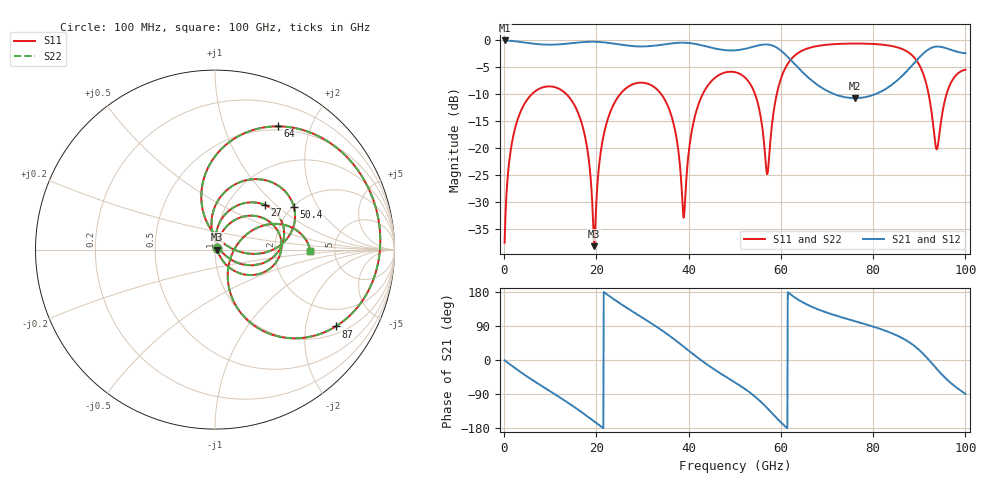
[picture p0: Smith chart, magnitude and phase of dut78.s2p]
! Touchstone file exported from HFSS 2026.1.0
!  File:  C:/ffzhzh/LocalFiles/Ansys_Project_Files/temp_train_TSV_RDL_78_1783451040_28540.aedt
!  Generated:  03:15:55 AM Jul  8, 2026
!  Design:  TSV_RDL
!  Project:  temp_train_TSV_RDL_78_1783451040_28540
! Variables:
!  h_bsmrdl = 3.49um
!  h_ox = 20um
!  h_rdl = 5um
!  h_sub = 97.33um
!  h_tmrdl = 4.26um
!  h_tsv = 97.33um
!  h_via = 3um
!  l_bsmrdl = 154.64um
!  l_sub = 2408.24um
!  l_tmrdl = 358.93um
!  m_sub = 200um
!  pitch = 41.8um
!  r_tsv = 11.44um
!  s_tmrdl = 10um
!  w_bsmrdl = 20.35um
!  w_sub = 500um
!  w_tmrdl = 15.85um
!  x_tsv_center1 = 366.855um
!  x_tsv_center2 = 541.845um
!  x_tsv_center3 = 916.625um
!  x_tsv_center4 = 1091.615um
!  x_tsv_center5 = 1466.395um
!  x_tsv_center6 = 1641.385um
# GHz S MA R 50.000000
! Terminal data exported
! Port[1] = TM_RDL1_1_T1
! Port[2] = TM_RDL5_1_T1
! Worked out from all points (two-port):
!   1000 points, 100 MHz to 100 GHz, reference 50 ohm
!   highest |S21| = -0.10 dB at 100 MHz (marker M1); lowest = -10.8 dB at 76.1 GHz (marker M2)
!   |S21| within 3 dB of the highest: start of sweep to 61.44 GHz; 90.17 GHz to end of sweep
!   lowest |S11| = -38.1 dB at 19.5 GHz (marker M3), VSWR 1.03, Z = 51.3 + j0.0527 ohm
!   |S11| at or under -10 dB: start of sweep to 6.023 GHz; 13.47 GHz to 25.17 GHz (11.7 GHz wide, 60.5 % of centre); 34.04 GHz to 43.06 GHz (9.024 GHz wide, 23.4 % of centre) (the widest 3 of 5)
!   |S22| runs from -38.1 to -0.7 dB; largest |S21 - S12| = 3.4e-13
!   S11 on the Smith chart (normalised r, x): 100 MHz: 1.02, +0.01; 27 GHz: 1.47, +0.85; 50.4 GHz: 2.03, +1.28; 64 GHz: 0.45, +1.53; 87 GHz: 1.25, -2.95; 100 GHz: 3.26, -0.09
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0.1  0.0134 32.5  0.9888 -1.0  0.9888 -1.0  0.0134 32.5
! Gamma 0 0 0 0
! Port Impedance 50 0 50 0
1.8  0.1189 66.2  0.9775 -16.4  0.9775 -16.4  0.1189 66.2
5.2  0.2886 40.7  0.9369 -45.4  0.9369 -45.4  0.2886 40.7
16.8  0.171 -46.4  0.9529 -137.7  0.9529 -137.7  0.171 -46.4
19.5  0.01244 2.4  0.9624 -161.8  0.9624 -161.8  0.0124 2.0
22  0.158 79.7  0.946 175.8  0.946 175.8  0.1579 79.8
27  0.3722 42.0  0.884 134.4  0.884 134.4  0.3722 42.1
33.4  0.3406 -4.6  0.8929 84.9  0.8929 84.9  0.3406 -4.4
36.8  0.1638 -29.1  0.9334 55.3  0.9334 55.3  0.1639 -28.7
38.9  0.02284 27.3  0.9426 35.4  0.9426 35.4  0.02402 27.6
42.5  0.2794 85.9  0.8989 1.3  0.8989 1.3  0.2795 85.7
50.1  0.5032 30.4  0.8021 -59.6  0.8021 -59.6  0.5033 30.4
50.4  0.4993 28.3  0.804 -61.9  0.804 -61.9  0.4995 28.3
57  0.05755 45.0  0.9083 -126.5  0.9083 -126.5  0.05792 44.8
59.7  0.3985 99.1  0.8161 -160.8  0.8161 -160.8  0.3983 99.0
64  0.7706 63.0  0.5391 157.4  0.5391 157.4  0.7705 63.0
66.7  0.8567 47.3  0.4216 140.4  0.4216 140.4  0.8566 47.3
76.1  0.9261 11.9  0.29 102.3  0.29 102.3  0.9261 11.9
83.4  0.8882 -14.0  0.368 73.8  0.368 73.8  0.8882 -14.0
87  0.7977 -32.4  0.4993 53.1  0.4993 53.1  0.7977 -32.4
93.8  0.09745 -19.5  0.8682 -23.7  0.8682 -23.7  0.09734 -19.5
100  0.5313 -1.1  0.7534 -89.4  0.7534 -89.4  0.5313 -1.0
